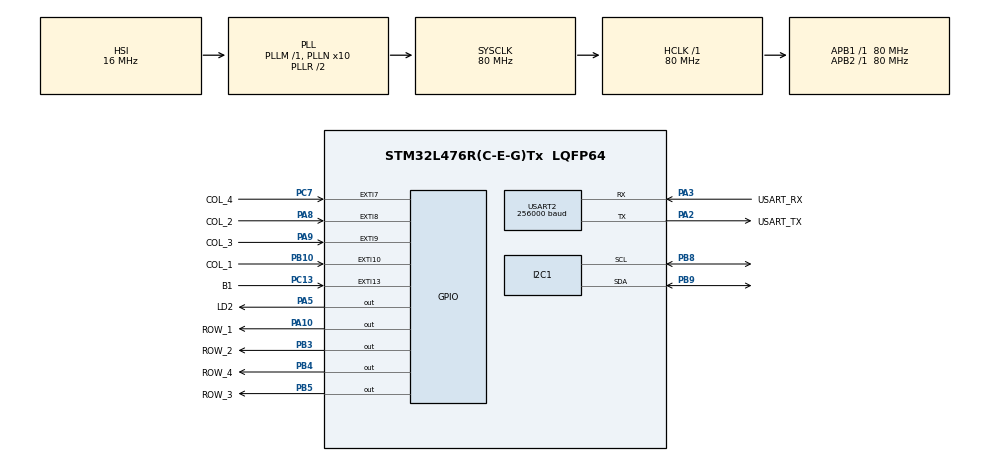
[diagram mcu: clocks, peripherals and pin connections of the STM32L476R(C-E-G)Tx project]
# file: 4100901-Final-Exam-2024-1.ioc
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I2C1.Timing=0x10909CEC
Mcu.Family=STM32L4
Mcu.Name=STM32L476R(C-E-G)Tx
Mcu.Package=LQFP64
NVIC.EXTI15_10_IRQn=true\:0\:0\:false\:false\:true\:true\:true\:true
NVIC.EXTI9_5_IRQn=true\:0\:0\:false\:false\:true\:true\:true\:true
NVIC.PriorityGroup=NVIC_PRIORITYGROUP_4
NVIC.USART2_IRQn=true\:0\:0\:false\:false\:true\:true\:true\:true
PA10.GPIO_Label=ROW_1
PA10.Signal=GPIO_Output
PA13\ (JTMS-SWDIO).GPIO_Label=TMS
PA13\ (JTMS-SWDIO).Mode=Serial_Wire
PA13\ (JTMS-SWDIO).Signal=SYS_JTMS-SWDIO
PA14\ (JTCK-SWCLK).GPIO_Label=TCK
PA14\ (JTCK-SWCLK).Mode=Serial_Wire
PA14\ (JTCK-SWCLK).Signal=SYS_JTCK-SWCLK
PA2.GPIO_Label=USART_TX
PA2.GPIO_Mode=GPIO_MODE_AF_PP
PA2.GPIO_PuPd=GPIO_NOPULL
PA2.GPIO_Speed=GPIO_SPEED_FREQ_VERY_HIGH
PA2.Mode=Asynchronous
PA2.Signal=USART2_TX
PA3.GPIO_Label=USART_RX
PA3.GPIO_Mode=GPIO_MODE_AF_PP
PA3.GPIO_PuPd=GPIO_NOPULL
PA3.GPIO_Speed=GPIO_SPEED_FREQ_VERY_HIGH
PA3.Mode=Asynchronous
PA3.Signal=USART2_RX
PA5.GPIO_Label=LD2
PA5.GPIO_ModeDefaultOutputPP=GPIO_MODE_OUTPUT_PP
PA5.GPIO_PuPd=GPIO_NOPULL
PA5.GPIO_Speed=GPIO_SPEED_FREQ_LOW
PA5.Signal=GPIO_Output
PA8.GPIO_Label=COL_2
PA8.Signal=GPXTI8
PA9.GPIO_Label=COL_3
PA9.Signal=GPXTI9
PB10.GPIO_Label=COL_1
PB10.Signal=GPXTI10
PB3\ (JTDO-TRACESWO).GPIO_Label=ROW_2
PB3\ (JTDO-TRACESWO).Signal=GPIO_Output
PB4\ (NJTRST).GPIO_Label=ROW_4
PB4\ (NJTRST).Signal=GPIO_Output
PB5.GPIO_Label=ROW_3
PB5.Signal=GPIO_Output
PB8.Mode=I2C
PB8.Signal=I2C1_SCL
PB9.Mode=I2C
PB9.Signal=I2C1_SDA
PC13.GPIO_Label=B1
PC13.GPIO_ModeDefaultEXTI=GPIO_MODE_IT_FALLING
PC13.GPIO_PuPd=GPIO_NOPULL
PC13.Signal=GPXTI13
PC14-OSC32_IN\ (PC14).Mode=LSE-External-Oscillator
PC14-OSC32_IN\ (PC14).Signal=RCC_OSC32_IN
PC15-OSC32_OUT\ (PC15).Mode=LSE-External-Oscillator
PC15-OSC32_OUT\ (PC15).Signal=RCC_OSC32_OUT
PC7.GPIO_Label=COL_4
PC7.Signal=GPXTI7
PH0-OSC_IN\ (PH0).Signal=RCC_OSC_IN
PH1-OSC_OUT\ (PH1).Signal=RCC_OSC_OUT
ProjectManager.HeapSize=0x200
ProjectManager.StackSize=0x400
ProjectManager.TargetToolchain=STM32CubeIDE
RCC.ADCFreq_Value=64000000
RCC.AHBFreq_Value=80000000
RCC.APB1Freq_Value=80000000
RCC.APB1TimFreq_Value=80000000
RCC.APB2Freq_Value=80000000
RCC.APB2TimFreq_Value=80000000
RCC.CortexFreq_Value=80000000
RCC.HCLKFreq_Value=80000000
RCC.HSE_VALUE=8000000
RCC.HSI_VALUE=16000000
RCC.MSI_VALUE=4000000
RCC.PLLN=10
RCC.PLLSourceVirtual=RCC_PLLSOURCE_HSI
RCC.PREFETCH_ENABLE=1
RCC.SYSCLKFreq_VALUE=80000000
RCC.SYSCLKSource=RCC_SYSCLKSOURCE_PLLCLK
RCC.USBFreq_Value=64000000
RCC.VCOOutputFreq_Value=160000000
USART2.BaudRate=256000
USART2.VirtualMode-Asynchronous=VM_ASYNC
board=NUCLEO-L476RG

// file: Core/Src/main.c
/* USER CODE BEGIN Header */
/**
  ******************************************************************************
  * @file           : main.c
  * @brief          : Main program body
  ******************************************************************************
  * @attention
  *
  * Copyright (c) 2024 STMicroelectronics.
  * All rights reserved.
  *
  * This software is licensed under terms that can be found in the LICENSE file
  * in the root directory of this software component.
  * If no LICENSE file comes with this software, it is provided AS-IS.
  *
  ******************************************************************************
  */
/* USER CODE END Header */
#include "main.h"

/* USER CODE BEGIN Includes */
#include <stdio.h>
#include <stdlib.h>
#include <string.h>
#include "ssd1306.h"
#include "ssd1306_fonts.h"
#include "led.h"
#include "ring_buffer.h"
#include "keypad.h"
/* USER CODE END Includes */

I2C_HandleTypeDef hi2c1;

UART_HandleTypeDef huart2;

/* USER CODE BEGIN PV */
#define MAX_KEYPAD_LENGTH 4 // Maximum length for keypad input
#define MAX_USART_LENGTH 6  // Maximum length for USART input

uint8_t system_status = 0;  // System state: 0 = off, 1 = ID correct, 2 = ID incorrect
uint32_t led_start_time = 0; // Time when the LED was turned on

char keypad_value[MAX_KEYPAD_LENGTH + 1];  // Buffer for keypad input (+1 for null-termination)
char usart_value[MAX_USART_LENGTH + 1];    // Buffer for USART input (+1 for null-termination)
uint8_t keypad_idx = 0;  // Index for keypad input
uint8_t usart_idx = 0;   // Index for USART input
uint8_t uart_rx_buffer;  // Temporary buffer to store received data

/* USER CODE END PV */

void SystemClock_Config(void);
static void MX_GPIO_Init(void);
static void MX_USART2_UART_Init(void);
static void MX_I2C1_Init(void);
/* USER CODE BEGIN PFP */
void update_display(void);
/* USER CODE END PFP */

/* USER CODE BEGIN 0 */
int _write(int file, char *ptr, int len)
{
  HAL_UART_Transmit(&huart2, (uint8_t *)ptr, len, 10);
  return len;
}

void update_display(void)
{
    // Clear the OLED display
    ssd1306_Fill(Black);

    // Show the last value from USART2
    ssd1306_SetCursor(0, 0);
    ssd1306_WriteString("USART:", Font_7x10, White);
    ssd1306_SetCursor(0, 15);
    ssd1306_WriteString(usart_value, Font_7x10, White);

    // Show the last value from the keypad
    ssd1306_SetCursor(0, 30);
    ssd1306_WriteString("Keypad:", Font_7x10, White);
    ssd1306_SetCursor(0, 45);
    ssd1306_WriteString(keypad_value, Font_7x10, White);

    // Update the OLED display
    ssd1306_UpdateScreen();
}

void HAL_UART_RxCpltCallback(UART_HandleTypeDef *huart)
{
	 if (huart->Instance == USART2)
	 {
		 // Process the received character
		 if (uart_rx_buffer >= '0' && uart_rx_buffer <= '9' && usart_idx < MAX_USART_LENGTH)
		 {
			 usart_value[usart_idx++] = uart_rx_buffer;
			 usart_value[usart_idx] = '\0'; // Null-terminate the string
			 printf("Updated usart_value: %s\n", usart_value); // Debug: Show updated string
			 }
		 // Handle '#' key to reset USART input
		 else if (uart_rx_buffer == '#')
		 {
			 memset(usart_value, 0, sizeof(usart_value));
			 usart_idx = 0;
			 printf("USART Reset\n");
		 }
		 else
		 {
			 // Debug: Invalid input
			 printf("Invalid character received: %c\n", uart_rx_buffer);
		 }
		 // Update the OLED display with the latest value
		 update_display();
		 // Restart the UART receive interrupt for the next character
		 HAL_UART_Receive_IT(&huart2, &uart_rx_buffer, 1);
	 }
}

void HAL_GPIO_EXTI_Callback(uint16_t GPIO_Pin)
{
if (GPIO_Pin == B1_Pin)  // If the button B1 is pressed
{
    int keypad_int = atoi(keypad_value);  // Convert keypad input to integer
    int usart_int = atoi(usart_value);    // Convert USART input to integer
    int sum = keypad_int + usart_int;     // Sum both values

    // Extract the last character from keypad_value and usart_value
    char last_keypad_char = (keypad_idx > 0) ? keypad_value[keypad_idx - 1] : ' ';
    char last_usart_char = (usart_idx > 0) ? usart_value[usart_idx - 1] : ' ';

    // Display sum on OLED
    ssd1306_Fill(Black);
    ssd1306_SetCursor(0, 0);
    char display_str[30];
    sprintf(display_str, "Sum: %d", sum);
    ssd1306_WriteString(display_str, Font_7x10, White);

    ssd1306_SetCursor(0, 15);
    sprintf(display_str, "Last Dig Keypad: %c", last_keypad_char);
    ssd1306_WriteString(display_str, Font_7x10, White);

    ssd1306_SetCursor(0, 30);
    sprintf(display_str, "Last Dig Usart: %c", last_usart_char);
    ssd1306_WriteString(display_str, Font_7x10, White);
    ssd1306_UpdateScreen();

    // Print sum to console
    printf("Sum: %d\n", sum);

    // LED control
    if (sum % 2 == 0)  // Check if the sum is even
    {
        LED_SetState(LED_ON);  // Turn on LED
    }
    else
    {
        LED_SetState(LED_OFF); // Turn off LED
    }
}
else
{
    uint8_t key_pressed = keypad_scan(GPIO_Pin);
    if (key_pressed != 0xFF)
    {
        // Handle numeric input for keypad
        if (key_pressed >= '0' && key_pressed <= '9' && keypad_idx < MAX_KEYPAD_LENGTH)
        {
            keypad_value[keypad_idx++] = key_pressed;
            keypad_value[keypad_idx] = '\0'; // Null-terminate the string
        }
        // Handle '*' key to reset keypad input
        else if (key_pressed == '*')
        {
            memset(keypad_value, 0, sizeof(keypad_value));
            keypad_idx = 0;
            printf("Keypad Reset\n");
        }

        // Update the OLED display with the latest values
        update_display();
    }
}
}
/* USER CODE END 0 */

int main(void)
{

  /* MCU Configuration--------------------------------------------------------*/

  /* Reset of all peripherals, Initializes the Flash interface and the Systick. */
  HAL_Init();

  /* Configure the system clock */
  SystemClock_Config();

  /* Initialize all configured peripherals */
  MX_GPIO_Init();
  MX_USART2_UART_Init();
  MX_I2C1_Init();
  /* USER CODE BEGIN 2 */
  LED_Init(LD2_GPIO_Port, LD2_Pin);  // Initialize the LED
  ssd1306_Init();                    // Initialize OLED display
  HAL_UART_Receive_IT(&huart2, (uint8_t*)usart_value, 1); // Start UART receive interrupt
  // Clear the display and show initial message
  ssd1306_Fill(Black);
  ssd1306_SetCursor(0, 0);
  ssd1306_WriteString("Enter values:", Font_7x10, White);
  ssd1306_UpdateScreen();
  /* USER CODE END 2 */

  /* Infinite loop */
  /* USER CODE BEGIN WHILE */
  printf("Starting\r\n");
  while (1)
  {
    /* USER CODE END WHILE */

  }
}

void SystemClock_Config(void)
{
  RCC_OscInitTypeDef RCC_OscInitStruct = {0};
  RCC_ClkInitTypeDef RCC_ClkInitStruct = {0};

  /** Configure the main internal regulator output voltage
  */
  if (HAL_PWREx_ControlVoltageScaling(PWR_REGULATOR_VOLTAGE_SCALE1) != HAL_OK)
  {
    Error_Handler();
  }

  /** Initializes the RCC Oscillators according to the specified parameters
  * in the RCC_OscInitTypeDef structure.
  */
  RCC_OscInitStruct.OscillatorType = RCC_OSCILLATORTYPE_HSI;
  RCC_OscInitStruct.HSIState = RCC_HSI_ON;
  RCC_OscInitStruct.HSICalibrationValue = RCC_HSICALIBRATION_DEFAULT;
  RCC_OscInitStruct.PLL.PLLState = RCC_PLL_ON;
  RCC_OscInitStruct.PLL.PLLSource = RCC_PLLSOURCE_HSI;
  RCC_OscInitStruct.PLL.PLLM = 1;
  RCC_OscInitStruct.PLL.PLLN = 10;
  RCC_OscInitStruct.PLL.PLLP = RCC_PLLP_DIV7;
  RCC_OscInitStruct.PLL.PLLQ = RCC_PLLQ_DIV2;
  RCC_OscInitStruct.PLL.PLLR = RCC_PLLR_DIV2;
  if (HAL_RCC_OscConfig(&RCC_OscInitStruct) != HAL_OK)
  {
    Error_Handler();
  }

  /** Initializes the CPU, AHB and APB buses clocks
  */
  RCC_ClkInitStruct.ClockType = RCC_CLOCKTYPE_HCLK|RCC_CLOCKTYPE_SYSCLK
                              |RCC_CLOCKTYPE_PCLK1|RCC_CLOCKTYPE_PCLK2;
  RCC_ClkInitStruct.SYSCLKSource = RCC_SYSCLKSOURCE_PLLCLK;
  RCC_ClkInitStruct.AHBCLKDivider = RCC_SYSCLK_DIV1;
  RCC_ClkInitStruct.APB1CLKDivider = RCC_HCLK_DIV1;
  RCC_ClkInitStruct.APB2CLKDivider = RCC_HCLK_DIV1;

  if (HAL_RCC_ClockConfig(&RCC_ClkInitStruct, FLASH_LATENCY_4) != HAL_OK)
  {
    Error_Handler();
  }
}

static void MX_I2C1_Init(void)
{

  hi2c1.Instance = I2C1;
  hi2c1.Init.Timing = 0x10909CEC;
  hi2c1.Init.OwnAddress1 = 0;
  hi2c1.Init.AddressingMode = I2C_ADDRESSINGMODE_7BIT;
  hi2c1.Init.DualAddressMode = I2C_DUALADDRESS_DISABLE;
  hi2c1.Init.OwnAddress2 = 0;
  hi2c1.Init.OwnAddress2Masks = I2C_OA2_NOMASK;
  hi2c1.Init.GeneralCallMode = I2C_GENERALCALL_DISABLE;
  hi2c1.Init.NoStretchMode = I2C_NOSTRETCH_DISABLE;
  if (HAL_I2C_Init(&hi2c1) != HAL_OK)
  {
    Error_Handler();
  }

  /** Configure Analogue filter
  */
  if (HAL_I2CEx_ConfigAnalogFilter(&hi2c1, I2C_ANALOGFILTER_ENABLE) != HAL_OK)
  {
    Error_Handler();
  }

  /** Configure Digital filter
  */
  if (HAL_I2CEx_ConfigDigitalFilter(&hi2c1, 0) != HAL_OK)
  {
    Error_Handler();
  }

}

static void MX_USART2_UART_Init(void)
{

  huart2.Instance = USART2;
  huart2.Init.BaudRate = 256000;
  huart2.Init.WordLength = UART_WORDLENGTH_8B;
  huart2.Init.StopBits = UART_STOPBITS_1;
  huart2.Init.Parity = UART_PARITY_NONE;
  huart2.Init.Mode = UART_MODE_TX_RX;
  huart2.Init.HwFlowCtl = UART_HWCONTROL_NONE;
  huart2.Init.OverSampling = UART_OVERSAMPLING_16;
  huart2.Init.OneBitSampling = UART_ONE_BIT_SAMPLE_DISABLE;
  huart2.AdvancedInit.AdvFeatureInit = UART_ADVFEATURE_NO_INIT;
  if (HAL_UART_Init(&huart2) != HAL_OK)
  {
    Error_Handler();
  }

}

static void MX_GPIO_Init(void)
{
  GPIO_InitTypeDef GPIO_InitStruct = {0};

  /* GPIO Ports Clock Enable */
  __HAL_RCC_GPIOC_CLK_ENABLE();
  __HAL_RCC_GPIOH_CLK_ENABLE();
  __HAL_RCC_GPIOA_CLK_ENABLE();
  __HAL_RCC_GPIOB_CLK_ENABLE();

  /*Configure GPIO pin Output Level */
  HAL_GPIO_WritePin(GPIOA, LD2_Pin|ROW_1_Pin, GPIO_PIN_RESET);

  /*Configure GPIO pin Output Level */
  HAL_GPIO_WritePin(GPIOB, ROW_2_Pin|ROW_4_Pin|ROW_3_Pin, GPIO_PIN_RESET);

  /*Configure GPIO pin : B1_Pin */
  GPIO_InitStruct.Pin = B1_Pin;
  GPIO_InitStruct.Mode = GPIO_MODE_IT_FALLING;
  GPIO_InitStruct.Pull = GPIO_NOPULL;
  HAL_GPIO_Init(B1_GPIO_Port, &GPIO_InitStruct);

  /*Configure GPIO pins : LD2_Pin ROW_1_Pin */
  GPIO_InitStruct.Pin = LD2_Pin|ROW_1_Pin;
  GPIO_InitStruct.Mode = GPIO_MODE_OUTPUT_PP;
  GPIO_InitStruct.Pull = GPIO_NOPULL;
  GPIO_InitStruct.Speed = GPIO_SPEED_FREQ_LOW;
  HAL_GPIO_Init(GPIOA, &GPIO_InitStruct);

  /*Configure GPIO pin : COL_1_Pin */
  GPIO_InitStruct.Pin = COL_1_Pin;
  GPIO_InitStruct.Mode = GPIO_MODE_IT_RISING;
  GPIO_InitStruct.Pull = GPIO_NOPULL;
  HAL_GPIO_Init(COL_1_GPIO_Port, &GPIO_InitStruct);

  /*Configure GPIO pin : COL_4_Pin */
  GPIO_InitStruct.Pin = COL_4_Pin;
  GPIO_InitStruct.Mode = GPIO_MODE_IT_RISING;
  GPIO_InitStruct.Pull = GPIO_NOPULL;
  HAL_GPIO_Init(COL_4_GPIO_Port, &GPIO_InitStruct);

  /*Configure GPIO pins : COL_2_Pin COL_3_Pin */
  GPIO_InitStruct.Pin = COL_2_Pin|COL_3_Pin;
  GPIO_InitStruct.Mode = GPIO_MODE_IT_RISING;
  GPIO_InitStruct.Pull = GPIO_NOPULL;
  HAL_GPIO_Init(GPIOA, &GPIO_InitStruct);

  /*Configure GPIO pins : ROW_2_Pin ROW_4_Pin ROW_3_Pin */
  GPIO_InitStruct.Pin = ROW_2_Pin|ROW_4_Pin|ROW_3_Pin;
  GPIO_InitStruct.Mode = GPIO_MODE_OUTPUT_PP;
  GPIO_InitStruct.Pull = GPIO_NOPULL;
  GPIO_InitStruct.Speed = GPIO_SPEED_FREQ_LOW;
  HAL_GPIO_Init(GPIOB, &GPIO_InitStruct);

  /* EXTI interrupt init*/
  HAL_NVIC_SetPriority(EXTI9_5_IRQn, 0, 0);
  HAL_NVIC_EnableIRQ(EXTI9_5_IRQn);

  HAL_NVIC_SetPriority(EXTI15_10_IRQn, 0, 0);
  HAL_NVIC_EnableIRQ(EXTI15_10_IRQn);

}

void Error_Handler(void)
{
  __disable_irq();
  while (1)
  {
  }
}
